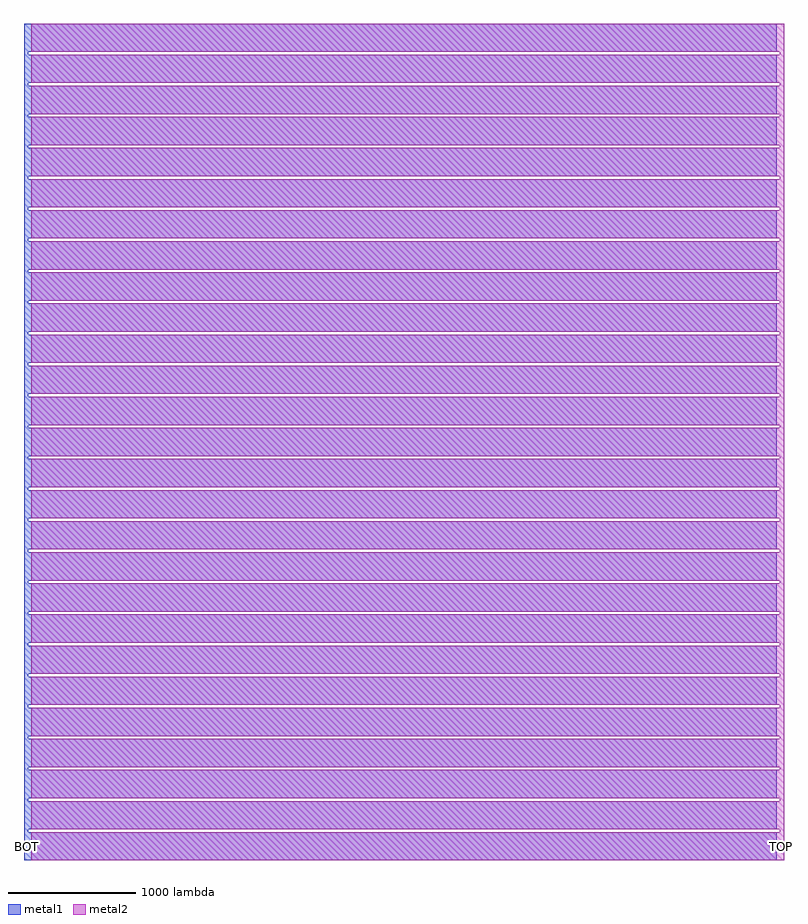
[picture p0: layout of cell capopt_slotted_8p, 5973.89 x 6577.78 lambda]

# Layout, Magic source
magic
tech SCL_CP8D
magscale 1 9
<< metal1 >>
rect -500 57200 52765 59200
rect -500 57000 -200 57200
rect -500 55000 52765 57000
rect -500 54800 -200 55000
rect -500 52800 52765 54800
rect -500 52600 -200 52800
rect -500 50600 52765 52600
rect -500 50400 -200 50600
rect -500 48400 52765 50400
rect -500 48200 -200 48400
rect -500 46200 52765 48200
rect -500 46000 -200 46200
rect -500 44000 52765 46000
rect -500 43800 -200 44000
rect -500 41800 52765 43800
rect -500 41600 -200 41800
rect -500 39600 52765 41600
rect -500 39400 -200 39600
rect -500 37400 52765 39400
rect -500 37200 -200 37400
rect -500 35200 52765 37200
rect -500 35000 -200 35200
rect -500 33000 52765 35000
rect -500 32800 -200 33000
rect -500 30800 52765 32800
rect -500 30600 -200 30800
rect -500 28600 52765 30600
rect -500 28400 -200 28600
rect -500 26400 52765 28400
rect -500 26200 -200 26400
rect -500 24200 52765 26200
rect -500 24000 -200 24200
rect -500 22000 52765 24000
rect -500 21800 -200 22000
rect -500 19800 52765 21800
rect -500 19600 -200 19800
rect -500 17600 52765 19600
rect -500 17400 -200 17600
rect -500 15400 52765 17400
rect -500 15200 -200 15400
rect -500 13200 52765 15200
rect -500 13000 -200 13200
rect -500 11000 52765 13000
rect -500 10800 -200 11000
rect -500 8800 52765 10800
rect -500 8600 -200 8800
rect -500 6600 52765 8600
rect -500 6400 -200 6600
rect -500 4400 52765 6400
rect -500 4200 -200 4400
rect -500 2200 52765 4200
rect -500 2000 -200 2200
rect -500 0 52765 2000
<< metal2 >>
rect 0 57200 53265 59200
rect 52965 57000 53265 57200
rect 0 55000 53265 57000
rect 52965 54800 53265 55000
rect 0 52800 53265 54800
rect 52965 52600 53265 52800
rect 0 50600 53265 52600
rect 52965 50400 53265 50600
rect 0 48400 53265 50400
rect 52965 48200 53265 48400
rect 0 46200 53265 48200
rect 52965 46000 53265 46200
rect 0 44000 53265 46000
rect 52965 43800 53265 44000
rect 0 41800 53265 43800
rect 52965 41600 53265 41800
rect 0 39600 53265 41600
rect 52965 39400 53265 39600
rect 0 37400 53265 39400
rect 52965 37200 53265 37400
rect 0 35200 53265 37200
rect 52965 35000 53265 35200
rect 0 33000 53265 35000
rect 52965 32800 53265 33000
rect 0 30800 53265 32800
rect 52965 30600 53265 30800
rect 0 28600 53265 30600
rect 52965 28400 53265 28600
rect 0 26400 53265 28400
rect 52965 26200 53265 26400
rect 0 24200 53265 26200
rect 52965 24000 53265 24200
rect 0 22000 53265 24000
rect 52965 21800 53265 22000
rect 0 19800 53265 21800
rect 52965 19600 53265 19800
rect 0 17600 53265 19600
rect 52965 17400 53265 17600
rect 0 15400 53265 17400
rect 52965 15200 53265 15400
rect 0 13200 53265 15200
rect 52965 13000 53265 13200
rect 0 11000 53265 13000
rect 52965 10800 53265 11000
rect 0 8800 53265 10800
rect 52965 8600 53265 8800
rect 0 6600 53265 8600
rect 52965 6400 53265 6600
rect 0 4400 53265 6400
rect 52965 4200 53265 4400
rect 0 2200 53265 4200
rect 52965 2000 53265 2200
rect 0 0 53265 2000
<< labels >>
rlabel metal1 s -342 999 -342 999 4 BOT
port 1 nsew
rlabel metal2 s 53109 999 53109 999 4 TOP
port 2 nsew
<< end >>
